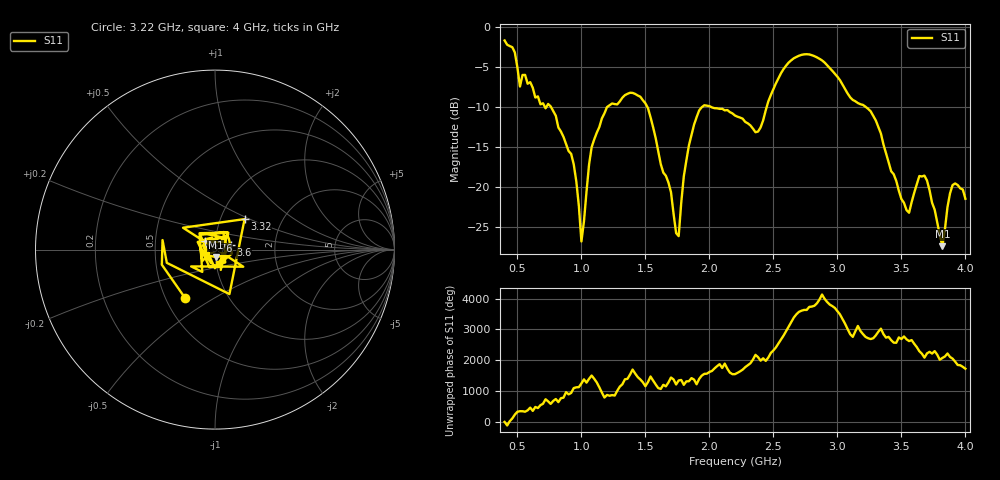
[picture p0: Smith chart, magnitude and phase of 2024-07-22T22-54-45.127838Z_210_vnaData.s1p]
!Created with skrf (http://scikit-rf.org).
# Hz S RI R 50.0
!freq ReS11 ImS11
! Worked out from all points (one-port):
!   181 points, 400 MHz to 4 GHz, reference 50 ohm
!   lowest |S11| = -27.4 dB at 3.82 GHz (marker M1), VSWR 1.09, Z = 50.3 - j4.28 ohm
!   |S11| at or under -10 dB: 762.4 MHz to 1.201 GHz (438.5 MHz wide, 44.7 % of centre); 1.515 GHz to 1.943 GHz (427.4 MHz wide, 24.7 % of centre); 3.222 GHz to end of sweep (the widest 3 of 5)
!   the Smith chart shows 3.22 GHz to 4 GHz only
!   S11 on the Smith chart (normalised r, x): 3.22 GHz: 0.63, -0.38; 3.32 GHz: 1.30, +0.47; 3.6 GHz: 1.19, +0.06; 3.76 GHz: 0.90, +0.09; 4 GHz: 1.03, -0.17
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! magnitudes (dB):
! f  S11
! 400 MHz  -1.7
! 480 MHz  -3.2
! 520 MHz  -7.4
! 560 MHz  -6.0
! 860 MHz  -13.7
! 940 MHz  -17.2
! 1 GHz  -26.8
! 1.08 GHz  -15.0
! 1.2 GHz  -10.0
! 1.3 GHz  -9.3
! 1.52 GHz  -10.1
! 1.76 GHz  -26.1
! 1.82 GHz  -16.7
! 1.92 GHz  -10.4
! 2.2 GHz  -11.1
! 2.38 GHz  -13.1
! 2.66 GHz  -3.9
! 2.88 GHz  -4.2
! 3.1 GHz  -8.8
! 3.22 GHz  -10.0
! 3.32 GHz  -12.5
! 3.56 GHz  -23.2
! 3.6 GHz  -20.7
! 3.68 GHz  -18.6
! 3.76 GHz  -22.8
! 3.82 GHz  -27.4
! 3.9 GHz  -19.8
! 4 GHz  -21.5
